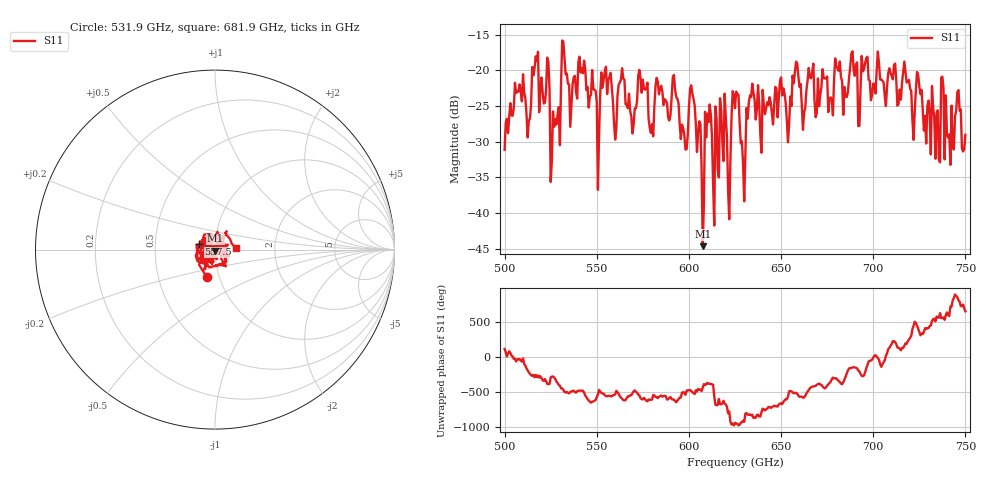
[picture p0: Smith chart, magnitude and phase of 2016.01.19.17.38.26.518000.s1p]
!Created with skrf (http://scikit-rf.org).
# GHz S RI R 50.0
!freq ReS11 ImS11
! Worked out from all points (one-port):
!   401 points, 500 GHz to 750 GHz, reference 50 ohm
!   lowest |S11| = -44.6 dB at 607.5 GHz (marker M1), VSWR 1.01, Z = 50.1 - j0.572 ohm
!   |S11| at or under -10 dB: start of sweep to end of sweep
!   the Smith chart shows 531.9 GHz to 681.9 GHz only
!   S11 on the Smith chart (normalised r, x): 531.9 GHz: 0.87, -0.27; 557.5 GHz: 0.83, +0.05; 681.9 GHz: 1.26, +0.03
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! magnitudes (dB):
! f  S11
! 500 GHz  -31.1
! 506.9 GHz  -22.9
! 513.1 GHz  -27.1
! 516.9 GHz  -18.1
! 523.1 GHz  -18.2
! 526.2 GHz  -25.8
! 531.2 GHz  -15.8
! 531.9 GHz  -16.0
! 550.6 GHz  -36.7
! 557.5 GHz  -20.4
! 560 GHz  -29.7
! 562.5 GHz  -21.7
! 579.4 GHz  -28.8
! 583.1 GHz  -21.6
! 593.8 GHz  -24.0
! 598.1 GHz  -31.1
! 601.9 GHz  -23.3
! 607.5 GHz  -44.6
! 610 GHz  -26.1
! 621.9 GHz  -40.8
! 625 GHz  -25.3
! 629.4 GHz  -33.1
! 633.8 GHz  -23.7
! 656.2 GHz  -20.7
! 681.9 GHz  -18.8
! 687.5 GHz  -19.6
! 718.8 GHz  -21.6
! 750 GHz  -29.0
